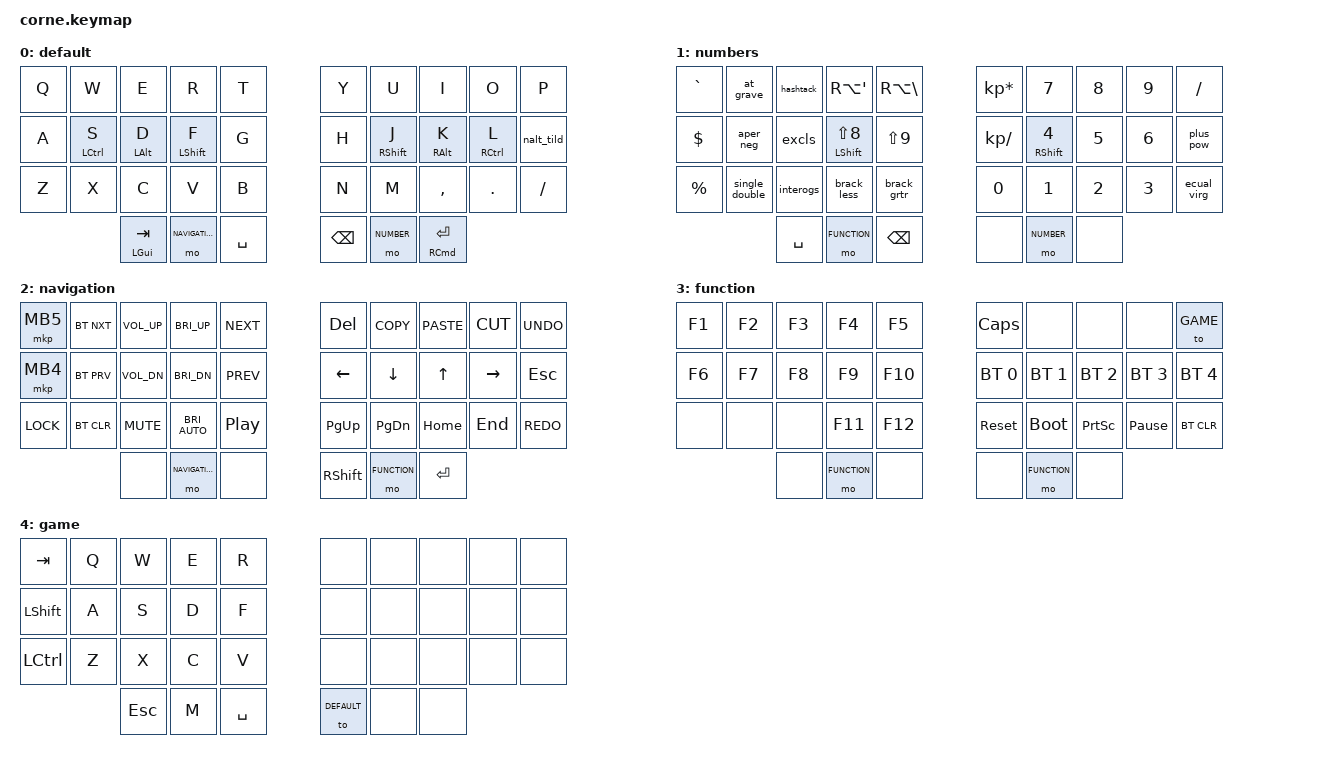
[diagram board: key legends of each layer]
/*
 * Copyright (c) 2020 The ZMK Contributors
 *
 * SPDX-License-Identifier: MIT
 */

#include <dt-bindings/zmk/mouse.h>
#include <behaviors.dtsi>
#include <dt-bindings/zmk/bt.h>
#include <dt-bindings/zmk/keys.h>
#include <dt-bindings/zmk/pointing.h>

#define DEFAULT 0
#define NUMBER 1
#define NAVIGATION 2
#define FUNCTION 3
#define GAME 4

/ {
    chosen { zmk,matrix_transform = &five_column_transform; };

    keymap {
        compatible = "zmk,keymap";

        default {
            bindings = <
  &kp Q  &kp W        &kp E           &kp R           &kp T        &kp Y          &kp U        &kp I            &kp O        &kp P
  &kp A  &mt LCTRL S  &mt LEFT_ALT D  &mt LSHFT F     &kp G        &kp H          &mt RSHFT J  &mt RIGHT_ALT K  &mt RCTRL L  &nalt_tild
  &kp Z  &kp X        &kp C           &kp V           &kp B        &kp N          &kp M        &kp COMMA        &kp DOT      &kp FSLH
                      &mt LGUI TAB    &mo NAVIGATION  &kp SPACE    &kp BACKSPACE  &mo NUMBER   &mt RCMD ENTER
            >;
        };

        numbers {
            bindings = <
  &kp GRAVE   &at_grave       &hashtack  &kp RA(APOS)      &kp RA(BSLH)    &kp KP_ASTERISK  &kp N7        &kp N8  &kp N9  &kp SLASH
  &kp DOLLAR  &aper_neg       &excls     &hm LSHFT LS(N8)  &kp LS(N9)      &kp KP_SLASH     &hm RSHFT N4  &kp N5  &kp N6  &plus_pow
  &kp PRCNT   &single_double  &interogs  &brack_less       &brack_grtr     &kp N0           &kp N1        &kp N2  &kp N3  &ecual_virg
                              &kp SPACE  &mo FUNCTION      &kp BSPC        &none            &mo NUMBER    &none
            >;
        };

        navigation {
            bindings = <
  &mkp MB5    &bt BT_NXT  &kp C_VOL_UP  &kp C_BRI_UP    &kp C_NEXT    &kp DEL    &kp K_COPY    &kp K_PASTE  &kp K_CUT  &kp K_UNDO
  &mkp MB4    &bt BT_PRV  &kp C_VOL_DN  &kp C_BRI_DN    &kp C_PREV    &kp LEFT   &kp DOWN      &kp UP       &kp RIGHT  &kp ESC
  &kp K_LOCK  &bt BT_CLR  &kp C_MUTE    &kp C_BRI_AUTO  &kp C_PP      &kp PG_UP  &kp PG_DN     &kp HOME     &kp END    &kp K_REDO
                          &none         &mo NAVIGATION  &none         &kp RSHFT  &mo FUNCTION  &kp ENTER
            >;
        };

        function {
            bindings = <
  &kp F1  &kp F2  &kp F3  &kp F4        &kp F5     &kp CAPS      &none         &none         &none            &to GAME
  &kp F6  &kp F7  &kp F8  &kp F9        &kp F10    &bt BT_SEL 0  &bt BT_SEL 1  &bt BT_SEL 2  &bt BT_SEL 3     &bt BT_SEL 4
  &none   &none   &none   &kp F11       &kp F12    &sys_reset    &bootloader   &kp PSCRN     &kp PAUSE_BREAK  &bt BT_CLR
                  &none   &mo FUNCTION  &none      &none         &mo FUNCTION  &none
            >;
        };

        game {
            bindings = <
  &kp TAB    &kp Q  &kp W    &kp E  &kp R        &none        &none  &none  &none  &none
  &kp LSHFT  &kp A  &kp S    &kp D  &kp F        &none        &none  &none  &none  &none
  &kp LCTRL  &kp Z  &kp X    &kp C  &kp V        &none        &none  &none  &none  &none
                    &kp ESC  &kp M  &kp SPACE    &to DEFAULT  &none  &none
            >;
        };
    };

    behaviors {
        hm: homerow_mods {
            compatible = "zmk,behavior-hold-tap";
            label = "HOMEROW_MODS";
            #binding-cells = <2>;
            tapping-term-ms = <200>;
            quick-tap-ms = <0>;
            flavor = "tap-preferred";
            bindings = <&kp>, <&kp>;
        };

        // default

        slash_bck: slash_bck {
            compatible = "zmk,behavior-mod-morph";
            label = "SLASH_BCK";
            bindings = <&slash_pip>, <&kp RA(N1)>;

            #binding-cells = <0>;
            mods = <(MOD_LALT|MOD_RALT)>;
            keep-mods = <(MOD_LSFT|MOD_RSFT)>;
        };

        slash_pip: slash_pip {
            compatible = "zmk,behavior-mod-morph";
            label = "SLASH_PIP";
            bindings = <&kp LS(N7)>, <&kp RA(GRAVE)>;

            #binding-cells = <0>;
            mods = <(MOD_LSFT|MOD_RSFT)>;
        };

        nalt_tild: nalt_tild {
            compatible = "zmk,behavior-mod-morph";
            label = "NALT_TILD";
            bindings = <&kp SEMI>, <&kp APOS>;

            #binding-cells = <0>;
            mods = <(MOD_LALT|MOD_RALT)>;
            keep-mods = <(MOD_LSFT|MOD_RSFT)>;
        };

        // nums 

        at_grave: at_grave {
            compatible = "zmk,behavior-mod-morph";
            label = "AT_GRAVE";
            bindings = <&kp RA(N2)>, <&kp LBKT>;

            #binding-cells = <0>;
            mods = <(MOD_LSFT|MOD_RSFT)>;
        };

        hashtack: hashtack {
            compatible = "zmk,behavior-mod-morph";
            label = "HASHTACK";
            bindings = <&kp RA(N3)>, <&kp RA(N3)>;

            #binding-cells = <0>;
            mods = <(MOD_LSFT|MOD_RSFT)>;
        };

        aper_neg: aper_neg {
            compatible = "zmk,behavior-mod-morph";
            label = "APER_NEG";
            bindings = <&kp LS(N6)>, <&kp RA(N6)>;

            #binding-cells = <0>;
            mods = <(MOD_LSFT|MOD_RSFT)>;
        };

        excls: excls {
            compatible = "zmk,behavior-mod-morph";
            label = "EXCLS";
            bindings = <&hm LGUI EQUAL>, <&hm LGUI LS(N1)>;

            #binding-cells = <0>;
            mods = <(MOD_LSFT|MOD_RSFT)>;
        };

        plus_pow: plus_pow {
            compatible = "zmk,behavior-mod-morph";
            label = "PLUS_POW";
            bindings = <&kp KP_PLUS>, <&kp LS(LBKT)>;

            #binding-cells = <0>;
            mods = <(MOD_LSFT|MOD_RSFT)>;
        };

        single_double: single_double {
            compatible = "zmk,behavior-mod-morph";
            label = "SINGLE_DOUBLE";
            bindings = <&kp MINUS>, <&kp LS(N2)>;

            #binding-cells = <0>;
            mods = <(MOD_LSFT|MOD_RSFT)>;
        };

        interogs: interogs {
            compatible = "zmk,behavior-mod-morph";
            label = "INTEROGS";
            bindings = <&kp LS(EQUAL)>, <&kp LS(MINUS)>;

            #binding-cells = <0>;
            mods = <(MOD_LSFT|MOD_RSFT)>;
        };

        brack_less: brack_less {
            compatible = "zmk,behavior-mod-morph";
            label = "BRACK_LESS";
            bindings = <&kp RA(LBKT)>, <&kp NUBS>;

            #binding-cells = <0>;
            mods = <(MOD_LSFT|MOD_RSFT)>;
        };

        brack_grtr: brack_grtr {
            compatible = "zmk,behavior-mod-morph";
            label = "BRACK_GRTR";
            bindings = <&kp RA(RBKT)>, <&kp LS(NUBS)>;

            #binding-cells = <0>;
            mods = <(MOD_LSFT|MOD_RSFT)>;
        };

        ecual_virg: ecual_virg {
            compatible = "zmk,behavior-mod-morph";
            label = "ECUAL_VIRG";
            bindings = <&kp LS(N0)>, <&kp RA(N4)>;

            #binding-cells = <0>;
            mods = <(MOD_LSFT|MOD_RSFT)>;
        };
    };

    combos {
        compatible = "zmk,combos";

        toggle_shift {
            bindings = <&caps_word>;
            key-positions = <14 15>;
            layers = <DEFAULT NAVIGATION NUMBER FUNCTION>;
        };

        FUN_LAYER {
            bindings = <&mo FUNCTION>;
            key-positions = <31 34>;
            layers = <DEFAULT>;
        };
    };
};
